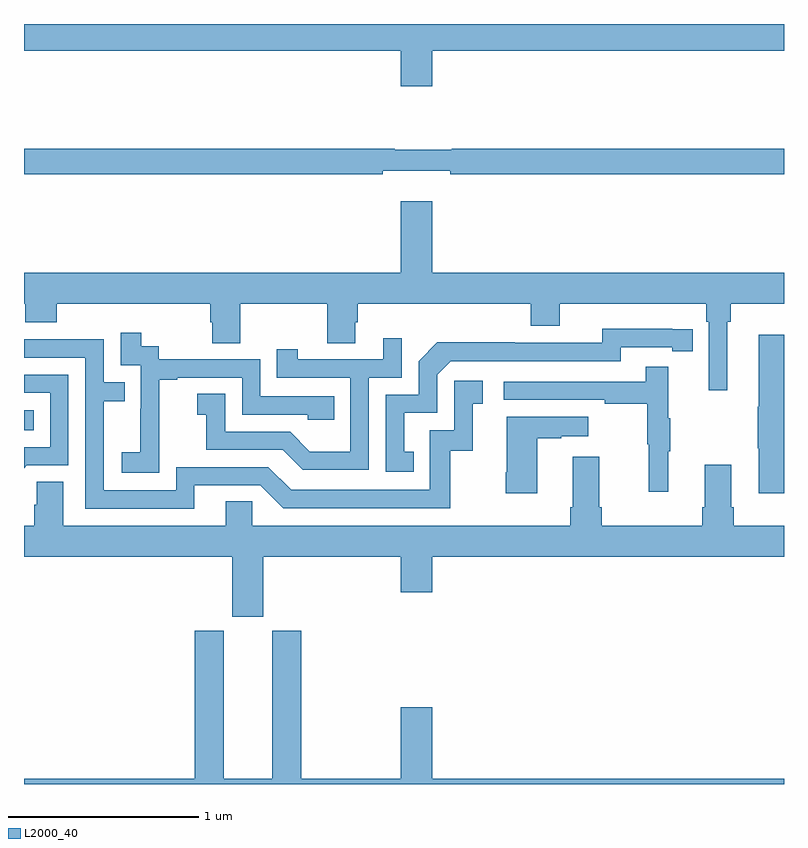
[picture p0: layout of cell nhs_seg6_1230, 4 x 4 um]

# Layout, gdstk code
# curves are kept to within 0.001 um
import gdstk
lib = gdstk.Library(unit=1e-6, precision=1e-09)
def R(c, l, rs):  # rectangles x0, y0, x1, y1
    for r in rs: c.add(gdstk.rectangle(r[:2], r[2:], *l))
def P(c, l, *ps):  # polygons
    for p in ps: c.add(gdstk.Polygon(p, *l))
L2000_40 = (2000, 40)

nhs_seg6_1230 = lib.new_cell('nhs_seg6_1230')
R(nhs_seg6_1230, L2000_40, [(187,921.362,187.052,921.466)])
P(nhs_seg6_1230, L2000_40, [(189.148,923.36),(191,923.36),(191,923.5),(187,923.5),(187,923.36),(188.984,923.36),(188.984,923.172),(189.148,923.172)],
  [(188.888,922.727),(189.244,922.727),(189.244,922.708),(191,922.708),(191,922.844),(189.25,922.844),(189.25,922.837),(188.95,922.837),(188.95,922.844),(187,922.844),(187,922.708),(188.888,922.708)],
  [(190.702,921.932),(190.721,921.932),(190.721,922.028),(191,922.028),(191,922.192),(189.148,922.192),(189.148,922.567),(188.984,922.567),(188.984,922.192),(187,922.192),(187,922.028),(187.007,922.028),(187.007,921.929),(187.172,921.929),(187.172,922.028),(187.979,922.028),(187.979,921.93),(187.991,921.93),(187.991,921.82),(188.139,921.82),(188.139,922.028),(188.596,922.028),(188.596,921.82),(188.743,921.82),(188.743,921.93),(188.756,921.93),(188.756,922.028),(189.668,922.028),(189.668,921.911),(189.82,921.911),(189.82,922.028),(190.592,922.028),(190.592,921.932),(190.605,921.932),(190.605,921.573),(190.702,921.573)],
  [(189.05,921.249),(189.001,921.249),(189.001,921.453),(189.174,921.453),(189.174,921.654),(189.246,921.726),(190.14,921.726),(190.14,921.798),(190.412,921.798),(190.412,921.778),(190.52,921.778),(190.52,921.894),(190.044,921.895),(190.044,921.822),(189.584,921.822),(189.584,921.824),(189.176,921.824),(189.078,921.726),(189.078,921.549),(188.904,921.549),(188.904,921.144),(189.05,921.144)],
  [(187.713,921.343),(187.712,921.343),(187.712,921.627),(187.807,921.627),(187.807,921.639),(188.148,921.639),(188.148,921.444),(188.493,921.444),(188.493,921.417),(188.633,921.417),(188.633,921.54),(188.244,921.54),(188.244,921.735),(187.71,921.735),(187.71,921.804),(187.618,921.804),(187.618,921.874),(187.509,921.874),(187.509,921.705),(187.614,921.705),(187.614,921.476),(187.613,921.476),(187.613,921.247),(187.515,921.247),(187.515,921.137),(187.713,921.137)],
  [(191,921.865),(190.868,921.865),(190.868,921.485),(190.861,921.485),(190.861,921.268),(190.868,921.268),(190.868,921.03),(191,921.03)],
  [(188.814,921.639),(188.988,921.639),(188.988,921.847),(188.891,921.847),(188.891,921.735),(188.44,921.735),(188.44,921.787),(188.329,921.787),(188.329,921.639),(188.718,921.639),(188.718,921.25),(188.504,921.25),(188.4,921.354),(188.058,921.354),(188.058,921.553),(187.911,921.553),(187.911,921.443),(187.96,921.443),(187.96,921.258),(188.363,921.258),(188.468,921.153),(188.814,921.153)],
  [(187.897,921.072),(188.244,921.072),(188.364,920.952),(189.244,920.952),(189.244,921.255),(189.362,921.255),(189.362,921.501),(189.415,921.501),(189.415,921.622),(189.264,921.622),(189.264,921.363),(189.135,921.363),(189.135,921.048),(188.406,921.048),(188.286,921.168),(187.8,921.168),(187.8,921.045),(187.419,921.045),(187.419,921.514),(187.529,921.514),(187.529,921.615),(187.419,921.615),(187.419,921.84),(187,921.84),(187,921.744),(187.323,921.744),(187.323,920.949),(187.897,920.949)],
  [(190.391,921.251),(190.402,921.251),(190.402,921.425),(190.391,921.425),(190.391,921.697),(190.273,921.697),(190.273,921.618),(189.525,921.618),(189.525,921.522),(190.057,921.522),(190.057,921.502),(190.281,921.502),(190.281,921.288),(190.288,921.288),(190.288,921.039),(190.391,921.039)],
  [(187.014,921.177),(187.233,921.177),(187.233,921.654),(187,921.654),(187,921.558),(187.137,921.558),(187.137,921.273),(187,921.273),(187,921.163)],
  [(189.7,921.319),(189.827,921.319),(189.827,921.329),(189.97,921.329),(189.97,921.433),(189.542,921.433),(189.542,921.142),(189.535,921.142),(189.535,921.03),(189.7,921.03)],
  [(188.26,920.696),(188.984,920.696),(188.984,920.508),(189.148,920.508),(189.148,920.696),(191,920.696),(191,920.86),(190.736,920.86),(190.736,920.956),(190.723,920.956),(190.723,921.181),(190.583,921.181),(190.583,920.956),(190.571,920.956),(190.571,920.86),(190.04,920.86),(190.04,920.956),(190.027,920.956),(190.027,921.223),(189.887,921.223),(189.887,920.956),(189.875,920.956),(189.875,920.86),(188.202,920.86),(188.202,920.987),(188.063,920.987),(188.063,920.86),(187.207,920.86),(187.207,921.092),(187.068,921.092),(187.068,920.969),(187.055,920.969),(187.055,920.86),(187,920.86),(187,920.696),(188.096,920.696),(188.096,920.379),(188.26,920.379)],
  [(191,919.528),(189.148,919.528),(189.148,919.903),(188.984,919.903),(188.984,919.528),(188.459,919.528),(188.459,920.307),(188.306,920.307),(188.306,919.528),(188.05,919.528),(188.05,920.307),(187.898,920.307),(187.898,919.528),(187,919.528),(187,919.5),(191,919.5)])

lib.write_gds('nhs_seg6_1230.gds')
